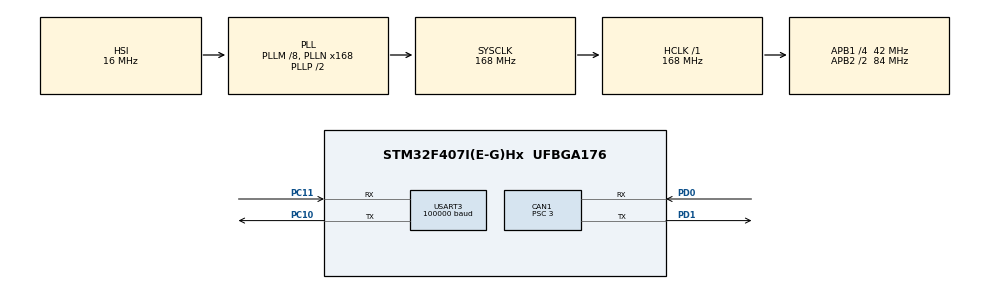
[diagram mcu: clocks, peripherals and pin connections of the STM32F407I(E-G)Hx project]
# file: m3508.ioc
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CAN1.BS1=CAN_BS1_10TQ
CAN1.BS2=CAN_BS2_3TQ
CAN1.CalculateBaudRate=1000000
CAN1.CalculateTimeBit=1000
CAN1.CalculateTimeQuantum=71.42857142857143
CAN1.Prescaler=3
Dma.Request0=USART3_RX
Dma.USART3_RX.0.Direction=DMA_PERIPH_TO_MEMORY
Dma.USART3_RX.0.FIFOMode=DMA_FIFOMODE_DISABLE
Dma.USART3_RX.0.Instance=DMA1_Stream1
Dma.USART3_RX.0.MemDataAlignment=DMA_MDATAALIGN_BYTE
Dma.USART3_RX.0.MemInc=DMA_MINC_ENABLE
Dma.USART3_RX.0.Mode=DMA_CIRCULAR
Dma.USART3_RX.0.PeriphDataAlignment=DMA_PDATAALIGN_BYTE
Dma.USART3_RX.0.PeriphInc=DMA_PINC_DISABLE
Dma.USART3_RX.0.Priority=DMA_PRIORITY_VERY_HIGH
Mcu.Family=STM32F4
Mcu.Name=STM32F407I(E-G)Hx
Mcu.Package=UFBGA176
NVIC.CAN1_RX0_IRQn=true\:0\:0\:false\:false\:true\:true\:true\:true
NVIC.DMA1_Stream1_IRQn=true\:0\:0\:false\:false\:true\:false\:true\:true
NVIC.PriorityGroup=NVIC_PRIORITYGROUP_4
NVIC.USART3_IRQn=true\:0\:0\:false\:false\:true\:true\:true\:true
PA13.Mode=Serial_Wire
PA13.Signal=SYS_JTMS-SWDIO
PA14.Mode=Serial_Wire
PA14.Signal=SYS_JTCK-SWCLK
PC10.Mode=Asynchronous
PC10.Signal=USART3_TX
PC11.Mode=Asynchronous
PC11.Signal=USART3_RX
PD0.Mode=CAN_Activate
PD0.Signal=CAN1_RX
PD1.Mode=CAN_Activate
PD1.Signal=CAN1_TX
PH0-OSC_IN.Mode=HSE-External-Oscillator
PH0-OSC_IN.Signal=RCC_OSC_IN
PH1-OSC_OUT.Mode=HSE-External-Oscillator
PH1-OSC_OUT.Signal=RCC_OSC_OUT
ProjectManager.HeapSize=0x200
ProjectManager.StackSize=0x400
ProjectManager.TargetToolchain=MDK-ARM V5.32
RCC.48MHZClocksFreq_Value=84000000
RCC.AHBFreq_Value=168000000
RCC.APB1CLKDivider=RCC_HCLK_DIV4
RCC.APB1Freq_Value=42000000
RCC.APB1TimFreq_Value=84000000
RCC.APB2CLKDivider=RCC_HCLK_DIV2
RCC.APB2Freq_Value=84000000
RCC.APB2TimFreq_Value=168000000
RCC.CortexFreq_Value=168000000
RCC.HCLKFreq_Value=168000000
RCC.HSE_VALUE=25000000
RCC.HSI_VALUE=16000000
RCC.LSE_VALUE=32768
RCC.PLLM=8
RCC.PLLN=168
RCC.SYSCLKFreq_VALUE=168000000
RCC.SYSCLKSource=RCC_SYSCLKSOURCE_PLLCLK
RCC.VCOOutputFreq_Value=336000000
USART3.BaudRate=100000
USART3.Parity=PARITY_EVEN
USART3.VirtualMode=VM_ASYNC
board=custom

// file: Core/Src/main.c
/* USER CODE BEGIN Header */
/**
  ******************************************************************************
  * @file           : main.c
  * @brief          : Main program body
  ******************************************************************************
  * @attention
  *
  * Copyright (c) 2023 STMicroelectronics.
  * All rights reserved.
  *
  * This software is licensed under terms that can be found in the LICENSE file
  * in the root directory of this software component.
  * If no LICENSE file comes with this software, it is provided AS-IS.
  *
  ******************************************************************************
  */
/* USER CODE END Header */
#include "main.h"
#include "can.h"
#include "dma.h"
#include "usart.h"
#include "gpio.h"

/* USER CODE BEGIN Includes */

#include "bsp_can.h"
#include "CAN_receive.h"
#include "pid.h"
#include "pid_user.h"
#include "remote_control.h"
/* USER CODE END Includes */

/* USER CODE BEGIN PTD */
int16_t vcx,vcy,vcr;
int     vmotor_target_1,vmotor_target_2,vmotor_target_3,vmotor_target_4;
int motor1_target_current,motor2_target_current,motor3_target_current,motor4_target_current;
extern RC_ctrl_t rc_ctrl;
/* USER CODE END PTD */

void SystemClock_Config(void);

int main(void)
{

  /* MCU Configuration--------------------------------------------------------*/

  /* Reset of all peripherals, Initializes the Flash interface and the Systick. */
  HAL_Init();

  /* Configure the system clock */
  SystemClock_Config();

  /* Initialize all configured peripherals */
  MX_GPIO_Init();
  MX_DMA_Init();
  MX_CAN1_Init();
  MX_USART3_UART_Init();
  /* USER CODE BEGIN 2 */
  can_filter_init( );
	pid_chassis_init( );
  remote_control_init( );

  /* USER CODE END 2 */

  /* Infinite loop */
  while (1)
  {

    /* USER CODE BEGIN 3 */
		vcx = 8* rc_ctrl.rc.ch[2];
    vcy =8 * rc_ctrl.rc.ch[3];
		vcr =8 * rc_ctrl.rc.ch[0];
		vmotor_target_1  =   vcy + vcx + vcr;
		vmotor_target_2  = - vcy + vcx + vcr;
		vmotor_target_3  =   vcy - vcx + vcr;
		vmotor_target_4  = - vcy - vcx + vcr;
//		motor1_target_current = PID_velocity_realize_1( vmotor_target_1 , 1 );
//		motor2_target_current = PID_velocity_realize_1( vmotor_target_2 , 2 );
//		motor3_target_current = PID_velocity_realize_1( vmotor_target_3 , 3 );
//		motor4_target_current = PID_velocity_realize_1( vmotor_target_4 , 4 );
//		CAN_cmd_chassis( motor1_target_current , motor2_target_current , motor3_target_current , motor4_target_current );

		motor1_target_current = PID_position_realize_1( 5000 ,1 );
CAN_cmd_chassis( motor1_target_current , 0 , 0 , 0     );
		HAL_Delay(2);

  }
  /* USER CODE END 3 */
}

void SystemClock_Config(void)
{
  RCC_OscInitTypeDef RCC_OscInitStruct = {0};
  RCC_ClkInitTypeDef RCC_ClkInitStruct = {0};

  /** Configure the main internal regulator output voltage
  */
  __HAL_RCC_PWR_CLK_ENABLE();
  __HAL_PWR_VOLTAGESCALING_CONFIG(PWR_REGULATOR_VOLTAGE_SCALE1);

  /** Initializes the RCC Oscillators according to the specified parameters
  * in the RCC_OscInitTypeDef structure.
  */
  RCC_OscInitStruct.OscillatorType = RCC_OSCILLATORTYPE_HSI;
  RCC_OscInitStruct.HSIState = RCC_HSI_ON;
  RCC_OscInitStruct.HSICalibrationValue = RCC_HSICALIBRATION_DEFAULT;
  RCC_OscInitStruct.PLL.PLLState = RCC_PLL_ON;
  RCC_OscInitStruct.PLL.PLLSource = RCC_PLLSOURCE_HSI;
  RCC_OscInitStruct.PLL.PLLM = 8;
  RCC_OscInitStruct.PLL.PLLN = 168;
  RCC_OscInitStruct.PLL.PLLP = RCC_PLLP_DIV2;
  RCC_OscInitStruct.PLL.PLLQ = 4;
  if (HAL_RCC_OscConfig(&RCC_OscInitStruct) != HAL_OK)
  {
    Error_Handler();
  }

  /** Initializes the CPU, AHB and APB buses clocks
  */
  RCC_ClkInitStruct.ClockType = RCC_CLOCKTYPE_HCLK|RCC_CLOCKTYPE_SYSCLK
                              |RCC_CLOCKTYPE_PCLK1|RCC_CLOCKTYPE_PCLK2;
  RCC_ClkInitStruct.SYSCLKSource = RCC_SYSCLKSOURCE_PLLCLK;
  RCC_ClkInitStruct.AHBCLKDivider = RCC_SYSCLK_DIV1;
  RCC_ClkInitStruct.APB1CLKDivider = RCC_HCLK_DIV4;
  RCC_ClkInitStruct.APB2CLKDivider = RCC_HCLK_DIV2;

  if (HAL_RCC_ClockConfig(&RCC_ClkInitStruct, FLASH_LATENCY_5) != HAL_OK)
  {
    Error_Handler();
  }
}

void Error_Handler(void)
{
  __disable_irq();
  while (1)
  {
  }
}
